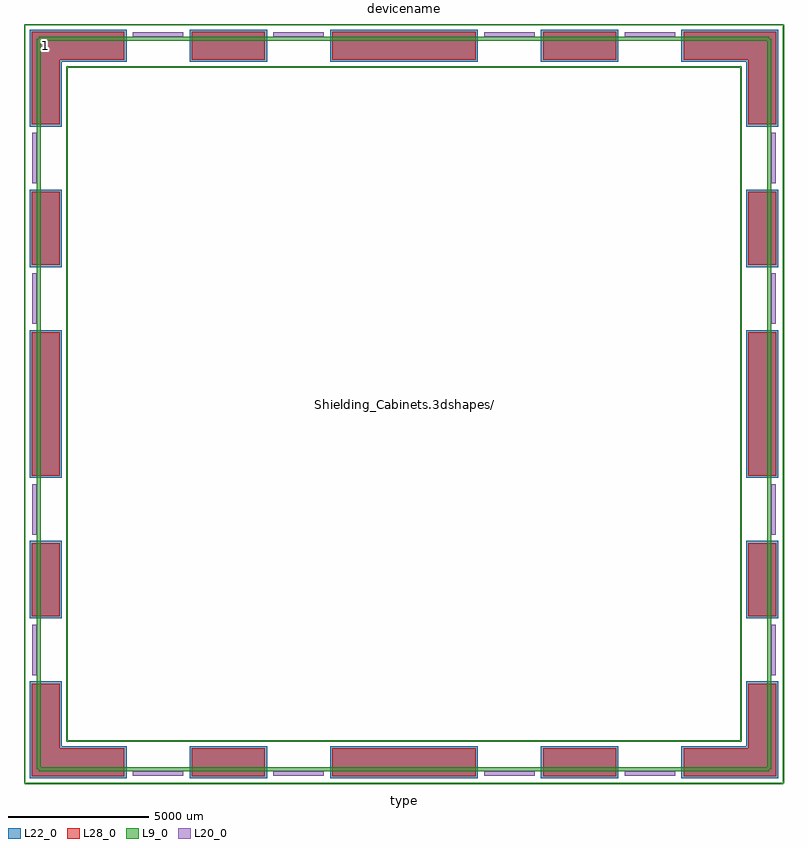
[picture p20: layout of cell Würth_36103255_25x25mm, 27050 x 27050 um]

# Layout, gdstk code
import gdstk
lib = gdstk.Library(unit=1e-6, precision=1e-09)
def R(c, l, rs):  # rectangles x0, y0, x1, y1
    for r in rs: c.add(gdstk.rectangle(r[:2], r[2:], *l))
L9_0 = (9, 0)
L20_0 = (20, 0)
L22_0 = (22, 0)
L28_0 = (28, 0)

w_rth_36103255_25x25mm = lib.new_cell('Würth_36103255_25x25mm')
R(w_rth_36103255_25x25mm, L22_0, [(-13325,-13325,-12175,-12175), (-12325,-13325,-9875,-12175), (-7625,-13325,-4875,-12175), (-2625,-13325,2625,-12175), (4875,-13325,7625,-12175), (9875,-13325,12325,-12175), (12175,-13325,13325,-12175), (-13325,-12325,-12175,-9875), (12175,-12325,13325,-9875), (-13325,-7625,-12175,-4875), (12175,-7625,13325,-4875), (-13325,-2625,-12175,2625), (12175,-2625,13325,2625), (-13325,4875,-12175,7625), (12175,4875,13325,7625), (-13325,9875,-12175,12325), (12175,9875,13325,12325), (-13325,12175,-12175,13325), (-12325,12175,-9875,13325), (-7625,12175,-4875,13325), (-2625,12175,2625,13325), (4875,12175,7625,13325), (9875,12175,12325,13325), (12175,12175,13325,13325)])
R(w_rth_36103255_25x25mm, L28_0, [(-13250,-13250,-12250,-12250), (-12250,-13250,-9950,-12250), (-7550,-13250,-4950,-12250), (-2550,-13250,2550,-12250), (4950,-13250,7550,-12250), (9950,-13250,12250,-12250), (12250,-13250,13250,-12250), (-13250,-12250,-12250,-9950), (12250,-12250,13250,-9950), (-13250,-7550,-12250,-4950), (12250,-7550,13250,-4950), (-13250,-2550,-12250,2550), (12250,-2550,13250,2550), (-13250,4950,-12250,7550), (12250,4950,13250,7550), (-13250,9950,-12250,12250), (12250,9950,13250,12250), (-13250,12250,-12250,13250), (-12250,12250,-9950,13250), (-7550,12250,-4950,13250), (-2550,12250,2550,13250), (4950,12250,7550,13250), (9950,12250,12250,13250), (12250,12250,13250,13250)])
w_rth_36103255_25x25mm.add(gdstk.FlexPath([(13150,-7850),(13150,-9650)], 149.998, ends="flush", simple_path=True, layer=20, datatype=0))  # L20_0
w_rth_36103255_25x25mm.add(gdstk.FlexPath([(-13150,-7850),(-13150,-9650)], 149.998, ends="flush", simple_path=True, layer=20, datatype=0))  # L20_0
w_rth_36103255_25x25mm.add(gdstk.FlexPath([(13150,-2850),(13150,-4650)], 149.998, ends="flush", simple_path=True, layer=20, datatype=0))  # L20_0
w_rth_36103255_25x25mm.add(gdstk.FlexPath([(-13150,-2850),(-13150,-4650)], 149.998, ends="flush", simple_path=True, layer=20, datatype=0))  # L20_0
w_rth_36103255_25x25mm.add(gdstk.FlexPath([(13150,4650),(13150,2850)], 149.998, ends="flush", simple_path=True, layer=20, datatype=0))  # L20_0
w_rth_36103255_25x25mm.add(gdstk.FlexPath([(-13150,4650),(-13150,2850)], 149.998, ends="flush", simple_path=True, layer=20, datatype=0))  # L20_0
w_rth_36103255_25x25mm.add(gdstk.FlexPath([(13150,9650),(13150,7850)], 149.998, ends="flush", simple_path=True, layer=20, datatype=0))  # L20_0
w_rth_36103255_25x25mm.add(gdstk.FlexPath([(-13150,9650),(-13150,7850)], 149.998, ends="flush", simple_path=True, layer=20, datatype=0))  # L20_0
w_rth_36103255_25x25mm.add(gdstk.FlexPath([(7850,-13150),(9650,-13150)], 149.998, ends="flush", simple_path=True, layer=20, datatype=0))  # L20_0
w_rth_36103255_25x25mm.add(gdstk.FlexPath([(7850,13150),(9650,13150)], 149.998, ends="flush", simple_path=True, layer=20, datatype=0))  # L20_0
w_rth_36103255_25x25mm.add(gdstk.FlexPath([(2850,-13150),(4650,-13150)], 149.998, ends="flush", simple_path=True, layer=20, datatype=0))  # L20_0
w_rth_36103255_25x25mm.add(gdstk.FlexPath([(2850,13150),(4650,13150)], 149.998, ends="flush", simple_path=True, layer=20, datatype=0))  # L20_0
w_rth_36103255_25x25mm.add(gdstk.FlexPath([(-4650,-13150),(-2850,-13150)], 149.998, ends="flush", simple_path=True, layer=20, datatype=0))  # L20_0
w_rth_36103255_25x25mm.add(gdstk.FlexPath([(-4650,13150),(-2850,13150)], 149.998, ends="flush", simple_path=True, layer=20, datatype=0))  # L20_0
w_rth_36103255_25x25mm.add(gdstk.FlexPath([(-9650,-13150),(-7850,-13150)], 149.998, ends="flush", simple_path=True, layer=20, datatype=0))  # L20_0
w_rth_36103255_25x25mm.add(gdstk.FlexPath([(-9650,13150),(-7850,13150)], 149.998, ends="flush", simple_path=True, layer=20, datatype=0))  # L20_0
w_rth_36103255_25x25mm.add(gdstk.FlexPath([(13000,13000),(-13000,13000)], 149.998, ends="flush", simple_path=True, layer=9, datatype=0))  # L9_0
w_rth_36103255_25x25mm.add(gdstk.FlexPath([(13000,-13000),(13000,13000)], 149.998, ends="flush", simple_path=True, layer=9, datatype=0))  # L9_0
w_rth_36103255_25x25mm.add(gdstk.FlexPath([(-13000,-13000),(13000,-13000)], 149.998, ends="flush", simple_path=True, layer=9, datatype=0))  # L9_0
w_rth_36103255_25x25mm.add(gdstk.FlexPath([(-13000,13000),(-13000,-13000)], 149.998, ends="flush", simple_path=True, layer=9, datatype=0))  # L9_0
w_rth_36103255_25x25mm.add(gdstk.FlexPath([(12000,12000),(-12000,12000)], 50, ends="flush", simple_path=True, layer=9, datatype=0))  # L9_0
w_rth_36103255_25x25mm.add(gdstk.FlexPath([(12000,-12000),(12000,12000)], 50, ends="flush", simple_path=True, layer=9, datatype=0))  # L9_0
w_rth_36103255_25x25mm.add(gdstk.FlexPath([(-12000,-12000),(12000,-12000)], 50, ends="flush", simple_path=True, layer=9, datatype=0))  # L9_0
w_rth_36103255_25x25mm.add(gdstk.FlexPath([(-12000,12000),(-12000,-12000)], 50, ends="flush", simple_path=True, layer=9, datatype=0))  # L9_0
w_rth_36103255_25x25mm.add(gdstk.FlexPath([(13500,13500),(-13500,13500)], 50, ends="flush", simple_path=True, layer=9, datatype=0))  # L9_0
w_rth_36103255_25x25mm.add(gdstk.FlexPath([(13500,-13500),(13500,13500)], 50, ends="flush", simple_path=True, layer=9, datatype=0))  # L9_0
w_rth_36103255_25x25mm.add(gdstk.FlexPath([(-13500,-13500),(13500,-13500)], 50, ends="flush", simple_path=True, layer=9, datatype=0))  # L9_0
w_rth_36103255_25x25mm.add(gdstk.FlexPath([(-13500,13500),(-13500,-13500)], 50, ends="flush", simple_path=True, layer=9, datatype=0))  # L9_0
w_rth_36103255_25x25mm.add(gdstk.Label('Shielding_Cabinets.3dshapes/Würth_36103255_25x25mm.wrl', (0,0), layer=12, texttype=0))
w_rth_36103255_25x25mm.add(gdstk.Label('1', (-12750,12750), layer=28, texttype=0))
w_rth_36103255_25x25mm.add(gdstk.Label('type', (0,-14250), layer=9, texttype=0))
w_rth_36103255_25x25mm.add(gdstk.Label('devicename', (0,14250), layer=9, texttype=0))

lib.write_gds('Würth_36103255_25x25mm.gds')
